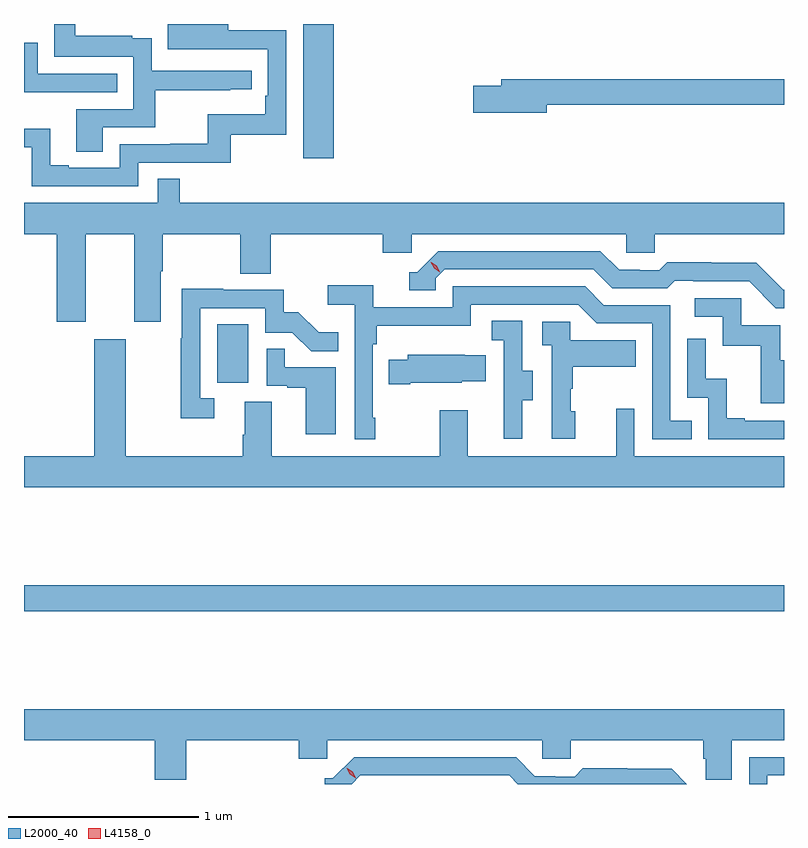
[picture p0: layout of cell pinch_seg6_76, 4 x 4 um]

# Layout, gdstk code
import gdstk
lib = gdstk.Library(unit=1e-6, precision=1e-09)
def R(c, l, rs):  # rectangles x0, y0, x1, y1
    for r in rs: c.add(gdstk.rectangle(r[:2], r[2:], *l))
def P(c, l, *ps):  # polygons
    for p in ps: c.add(gdstk.Polygon(p, *l))
L2000_40 = (2000, 40)
L4158_0 = (4158, 0)

pinch_seg6_76 = lib.new_cell('pinch_seg6_76')
R(pinch_seg6_76, L2000_40, [(923.988,930.7,927.988,930.836), (925.004,931.902,925.168,932.209), (925.457,933.084,925.618,933.79)])
P(pinch_seg6_76, L2000_40, [(924.403,933.246),(924.68,933.246),(924.68,933.442),(925.073,933.442),(925.073,933.447),(925.186,933.447),(925.186,933.543),(924.66,933.543),(924.66,933.715),(924.557,933.715),(924.557,933.727),(924.259,933.727),(924.259,933.79),(924.148,933.79),(924.148,933.618),(924.564,933.618),(924.564,933.342),(924.263,933.342),(924.263,933.118),(924.403,933.118)],
  [(924.588,933.06),(925.075,933.06),(925.075,933.207),(925.368,933.207),(925.368,933.758),(925.063,933.758),(925.063,933.79),(924.745,933.79),(924.745,933.656),(924.959,933.656),(924.959,933.657),(925.272,933.657),(925.272,933.412),(925.259,933.412),(925.259,933.316),(924.954,933.316),(924.954,933.161),(924.757,933.161),(924.757,933.156),(924.492,933.156),(924.492,933.033),(924.223,933.033),(924.223,933.046),(924.127,933.046),(924.127,933.239),(923.988,933.239),(923.988,933.141),(924.03,933.141),(924.03,932.937),(924.588,932.937)],
  [(924.479,933.528),(924.06,933.528),(924.06,933.691),(923.988,933.691),(923.988,933.432),(924.479,933.432)],
  [(926.74,933.364),(927.988,933.364),(927.988,933.5),(926.501,933.5),(926.501,933.464),(926.352,933.464),(926.352,933.322),(926.74,933.322)],
  [(924.313,932.684),(924.569,932.684),(924.569,932.223),(924.709,932.223),(924.709,932.488),(924.717,932.488),(924.717,932.684),(925.126,932.684),(925.126,932.476),(925.286,932.476),(925.286,932.684),(925.877,932.684),(925.877,932.586),(926.028,932.586),(926.028,932.684),(927.159,932.684),(927.159,932.586),(927.309,932.586),(927.309,932.684),(927.988,932.684),(927.988,932.848),(924.809,932.848),(924.809,932.975),(924.693,932.975),(924.693,932.848),(923.988,932.848),(923.988,932.684),(924.161,932.684),(924.161,932.223),(924.313,932.223)],
  [(927.988,932.391),(927.984,932.391),(927.842,932.533),(927.606,932.533),(927.606,932.536),(927.373,932.536),(927.331,932.493),(927.228,932.493),(927.228,932.496),(927.121,932.496),(927.022,932.595),(926.169,932.595),(926.058,932.484),(926.015,932.484),(926.015,932.388),(926.154,932.388),(926.154,932.451),(926.202,932.499),(926.985,932.499),(927.084,932.4),(927.373,932.4),(927.412,932.439),(927.511,932.439),(927.511,932.436),(927.804,932.436),(927.945,932.295),(927.988,932.295)],
  [(925.837,931.717),(925.824,931.717),(925.824,932.105),(925.844,932.105),(925.844,932.201),(926.34,932.201),(926.34,932.313),(926.904,932.313),(927.003,932.214),(927.294,932.214),(927.294,931.605),(927.503,931.605),(927.503,931.701),(927.39,931.701),(927.39,932.31),(927.04,932.31),(926.941,932.409),(926.244,932.409),(926.244,932.298),(925.826,932.298),(925.826,932.414),(925.587,932.414),(925.587,932.312),(925.728,932.312),(925.728,931.605),(925.837,931.605)],
  [(924.988,931.821),(924.915,931.821),(924.915,932.295),(925.257,932.295),(925.257,932.166),(925.401,932.166),(925.499,932.068),(925.643,932.068),(925.643,932.167),(925.539,932.167),(925.432,932.274),(925.356,932.274),(925.356,932.391),(925.037,932.391),(925.037,932.396),(924.819,932.396),(924.819,932.135),(924.814,932.135),(924.814,931.716),(924.988,931.716)],
  [(927.988,932.019),(927.967,932.019),(927.967,932.205),(927.762,932.205),(927.762,932.346),(927.519,932.346),(927.519,932.25),(927.666,932.25),(927.666,932.097),(927.865,932.097),(927.865,931.794),(927.988,931.794)],
  [(926.611,931.81),(926.665,931.81),(926.665,931.965),(926.61,931.965),(926.61,932.228),(926.451,932.228),(926.451,932.125),(926.514,932.125),(926.514,931.821),(926.513,931.821),(926.513,931.608),(926.611,931.608)],
  [(926.89,931.752),(926.865,931.752),(926.865,931.871),(926.875,931.871),(926.875,931.985),(927.209,931.985),(927.209,932.125),(926.862,932.125),(926.862,932.223),(926.715,932.223),(926.715,932.099),(926.766,932.099),(926.766,931.608),(926.89,931.608)],
  [(927.988,931.701),(927.781,931.701),(927.781,931.714),(927.686,931.714),(927.686,931.922),(927.576,931.922),(927.576,932.134),(927.48,932.134),(927.48,931.824),(927.588,931.824),(927.588,931.605),(927.988,931.605)],
  [(927.988,931.516),(927.201,931.516),(927.201,931.765),(927.104,931.765),(927.104,931.516),(926.323,931.516),(926.323,931.756),(926.176,931.756),(926.176,931.516),(925.291,931.516),(925.291,931.802),(925.151,931.802),(925.151,931.628),(925.139,931.628),(925.139,931.516),(924.523,931.516),(924.523,932.131),(924.359,932.131),(924.359,931.516),(923.988,931.516),(923.988,931.352),(927.988,931.352)],
  [(925.63,931.983),(925.361,931.983),(925.361,932.081),(925.266,932.081),(925.266,931.887),(925.373,931.887),(925.373,931.875),(925.472,931.875),(925.472,931.632),(925.63,931.632)],
  [(926.02,931.901),(926.292,931.901),(926.292,931.91),(926.417,931.91),(926.417,932.047),(926.309,932.047),(926.309,932.05),(926.007,932.05),(926.007,932.023),(925.909,932.023),(925.909,931.894),(926.02,931.894)],
  [(924.842,930.02),(925.433,930.02),(925.433,929.922),(925.584,929.922),(925.584,930.02),(926.715,930.02),(926.715,929.922),(926.865,929.922),(926.865,930.02),(927.563,930.02),(927.563,929.922),(927.577,929.922),(927.577,929.812),(927.714,929.812),(927.714,930.02),(927.988,930.02),(927.988,930.184),(923.988,930.184),(923.988,930.02),(924.677,930.02),(924.677,929.812),(924.842,929.812)],
  [(927.901,929.835),(927.988,929.835),(927.988,929.931),(927.804,929.931),(927.804,929.79),(927.901,929.79)],
  [(925.758,929.835),(926.541,929.835),(926.586,929.79),(927.477,929.79),(927.398,929.869),(927.162,929.869),(927.162,929.872),(926.929,929.872),(926.887,929.829),(926.784,929.829),(926.784,929.832),(926.677,929.832),(926.578,929.931),(925.725,929.931),(925.614,929.82),(925.571,929.82),(925.571,929.79),(925.713,929.79)])
P(pinch_seg6_76, L4158_0, [(926.176,932.484),(926.146,932.504),(926.13,932.536),(926.13,932.536),(926.131,932.536),(926.161,932.517),(926.177,932.484),(926.177,932.484)],
  [(925.733,929.821),(925.703,929.841),(925.687,929.873),(925.687,929.874),(925.688,929.874),(925.718,929.854),(925.734,929.821),(925.734,929.821)])

lib.write_gds('pinch_seg6_76.gds')
